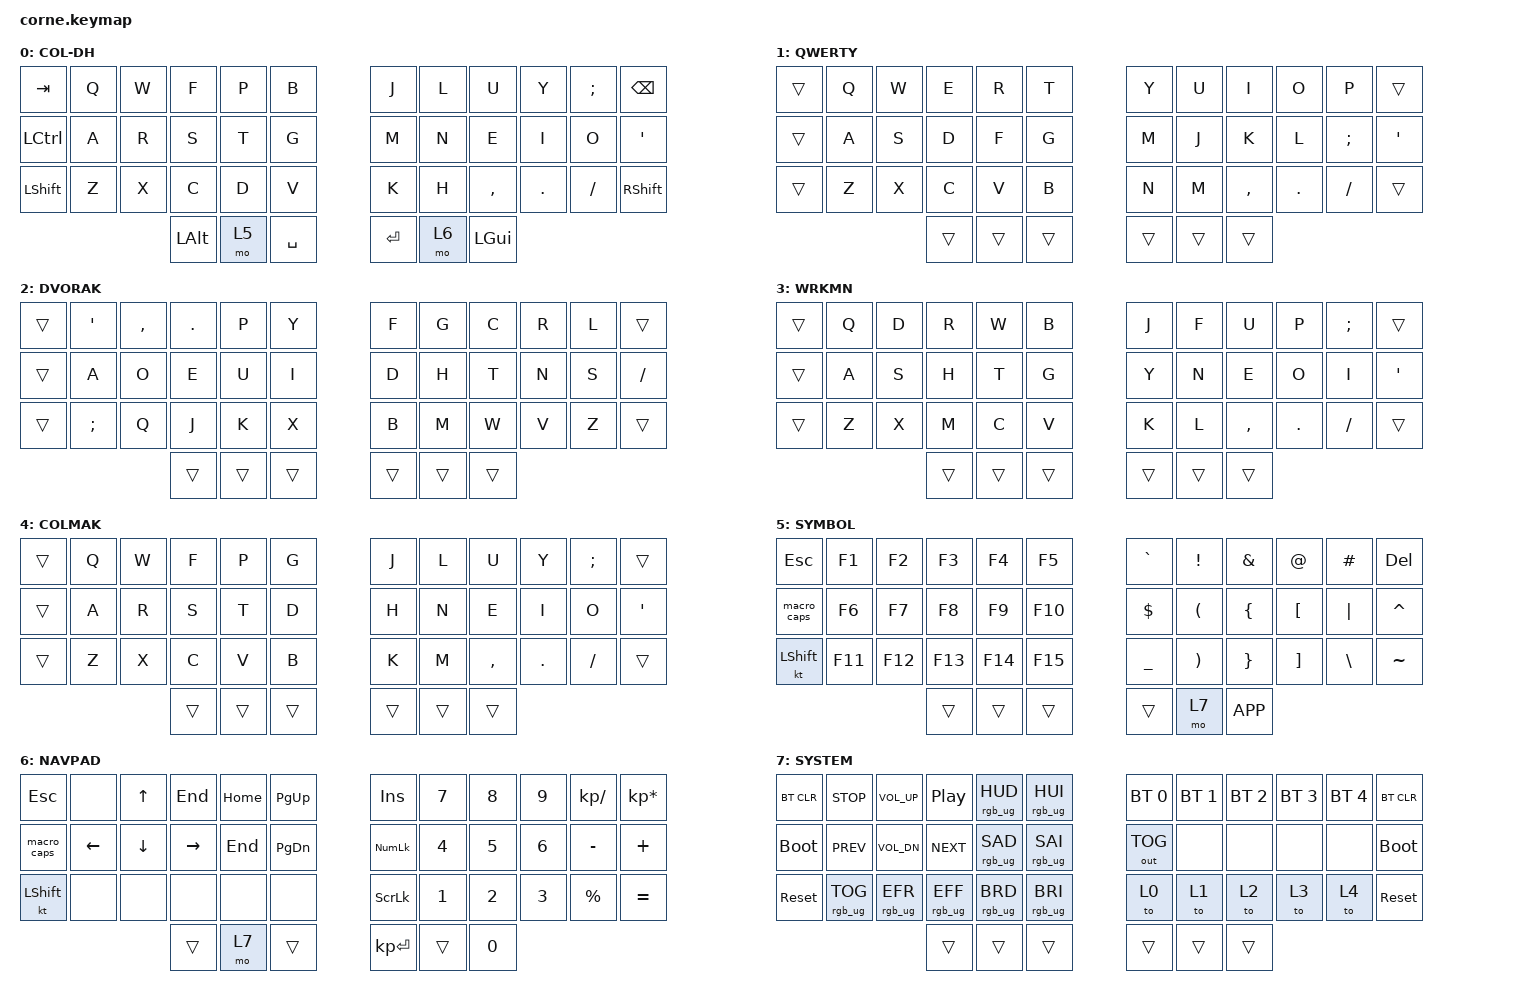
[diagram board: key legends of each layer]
/* DISABLE WORD WRAP FOR EASIER READING ****************************************
*******************************************************************************/

/*
 * Copyright (c) 2020 The ZMK Contributors
 * SPDX-License-Identifier: MIT
 *
 * Adapted for personal use from the ZMK project by Frosthaven
 */

#include <behaviors.dtsi>
#include <dt-bindings/zmk/keys.h>
#include <dt-bindings/zmk/bt.h>
#include <dt-bindings/zmk/rgb.h>
#include <dt-bindings/zmk/ext_power.h>
#include <dt-bindings/zmk/outputs.h>

/* DEVICE CONFIG ***************************************************************
*******************************************************************************/

// required to run nice!view off of pin 008 (the TRRS data pin)
&nice_view_spi {
    cs-gpios = <&pro_micro 0 GPIO_ACTIVE_HIGH>;
};

/* BEHAVIORS *******************************************************************
*******************************************************************************/

&mt {
  tapping-term-ms = <200>;
};

/* DEVICE MAP ******************************************************************
*******************************************************************************/

/ {

  macros {
    // MACOS requires the caps lock key to be held for 200ms to register
    ZMK_MACRO(macro_caps,
      tap-ms = <200>;
      bindings = <&kp CAPS>;
    )
  };

  keymap {
      compatible = "zmk,keymap";

      layout_layer_0 {
        label = "COL-DH";
        bindings = <
          &kp TAB               &kp Q             &kp W             &kp F             &kp P             &kp B             &kp J             &kp L             &kp U             &kp Y             &kp SEMI              &kp BSPC
          &kp LCTRL             &kp A             &kp R             &kp S             &kp T             &kp G             &kp M             &kp N             &kp E             &kp I             &kp O                 &kp SQT
          &kp LSHFT             &kp Z             &kp X             &kp C             &kp D             &kp V             &kp K             &kp H             &kp COMMA         &kp DOT           &kp FSLH              &kp RSHFT
                                                                    &kp LALT          &mo 5             &kp SPACE         &kp RET           &mo 6             &kp LGUI
        >;
      };

      layout_layer_1 {
        label = "QWERTY";
        bindings = <
          &trans                &kp Q             &kp W             &kp E             &kp R             &kp T             &kp Y             &kp U             &kp I             &kp O             &kp P                 &trans
          &trans                &kp A             &kp S             &kp D             &kp F             &kp G             &kp M             &kp J             &kp K             &kp L             &kp SEMI              &kp SQT
          &trans                &kp Z             &kp X             &kp C             &kp V             &kp B             &kp N             &kp M             &kp COMMA         &kp DOT           &kp FSLH              &trans
                                                                    &trans            &trans            &trans            &trans            &trans            &trans
        >;
      };

      layout_layer_2 {
        label = "DVORAK";
        bindings = <
          &trans                &kp SQT           &kp COMMA         &kp DOT           &kp P             &kp Y             &kp F             &kp G             &kp C             &kp R             &kp L                 &trans
          &trans                &kp A             &kp O             &kp E             &kp U             &kp I             &kp D             &kp H             &kp T             &kp N             &kp S                 &kp FSLH
          &trans                &kp SEMI          &kp Q             &kp J             &kp K             &kp X             &kp B             &kp M             &kp W             &kp V             &kp Z                 &trans
                                                                    &trans            &trans            &trans            &trans            &trans            &trans
        >;
      };

      layout_layer_3 {
        label = "WRKMN";
        bindings = <
          &trans                &kp Q             &kp D             &kp R             &kp W             &kp B             &kp J             &kp F             &kp U             &kp P             &kp SEMI              &trans
          &trans                &kp A             &kp S             &kp H             &kp T             &kp G             &kp Y             &kp N             &kp E             &kp O             &kp I                 &kp SQT
          &trans                &kp Z             &kp X             &kp M             &kp C             &kp V             &kp K             &kp L             &kp COMMA         &kp DOT           &kp FSLH              &trans
                                                                    &trans            &trans            &trans            &trans            &trans            &trans
        >;
      };

      layout_layer_4 {
        label = "COLMAK";
        bindings = <
          &trans                &kp Q             &kp W             &kp F             &kp P             &kp G             &kp J             &kp L             &kp U             &kp Y             &kp SEMI              &trans
          &trans                &kp A             &kp R             &kp S             &kp T             &kp D             &kp H             &kp N             &kp E             &kp I             &kp O                 &kp SQT
          &trans                &kp Z             &kp X             &kp C             &kp V             &kp B             &kp K             &kp M             &kp COMMA         &kp DOT           &kp FSLH              &trans
                                                                    &trans            &trans            &trans            &trans            &trans            &trans
        >;
      };

      lower_layer { // 5
        label = "SYMBOL";
        bindings = <
          &kp ESC               &kp F1            &kp F2            &kp F3            &kp F4            &kp F5            &kp GRAVE         &kp EXCL          &kp AMPS          &kp AT            &kp HASH              &kp DEL
          &macro_caps           &kp F6            &kp F7            &kp F8            &kp F9            &kp F10           &kp DLLR          &kp LPAR          &kp LBRC          &kp LBKT          &kp PIPE              &kp CARET
          &kt LSHFT             &kp F11           &kp F12           &kp F13           &kp F14           &kp F15           &kp UNDER         &kp RPAR          &kp RBRC          &kp RBKT          &kp BACKSLASH         &kp TILDE
                                                                    &trans            &trans            &trans            &trans            &mo 7             &kp K_APP
        >;
      };

      raise_layer { // 6
        label = "NAVPAD";
        bindings = <
          &kp ESC               &none             &kp UP            &kp END           &kp HOME          &kp PG_UP         &kp INSERT        &kp N7            &kp N8            &kp N9            &kp KP_DIVIDE          &kp KP_MULTIPLY
          &macro_caps           &kp LEFT          &kp DOWN          &kp RIGHT         &kp END           &kp PG_DN         &kp KP_NUMLOCK    &kp N4            &kp N5            &kp N6            &kp MINUS              &kp PLUS
          &kt LSHFT             &none             &none             &none             &none             &none             &kp SCROLLLOCK    &kp N1            &kp N2            &kp N3            &kp PERCENT            &kp EQUAL
                                                                    &trans            &mo 7             &trans            &kp KP_ENTER      &trans            &kp N0
        >;
      };

      adjust_layer { // 7
        label = "SYSTEM";
        bindings = <
          &bt BT_CLR            &kp C_STOP        &kp C_VOL_UP      &kp C_PLAY_PAUSE  &rgb_ug RGB_HUD   &rgb_ug RGB_HUI   &bt BT_SEL 0      &bt BT_SEL 1      &bt BT_SEL 2      &bt BT_SEL 3      &bt BT_SEL 4          &bt BT_CLR
          &bootloader           &kp C_PREV        &kp C_VOL_DN      &kp C_NEXT        &rgb_ug RGB_SAD   &rgb_ug RGB_SAI   &out OUT_TOG      &none             &none             &none             &none                 &bootloader
          &sys_reset            &rgb_ug RGB_TOG   &rgb_ug RGB_EFR   &rgb_ug RGB_EFF   &rgb_ug RGB_BRD   &rgb_ug RGB_BRI   &to 0             &to 1             &to 2             &to 3             &to 4                 &sys_reset
                                                                    &trans            &trans            &trans            &trans            &trans            &trans
        >;
      };
    };
};
